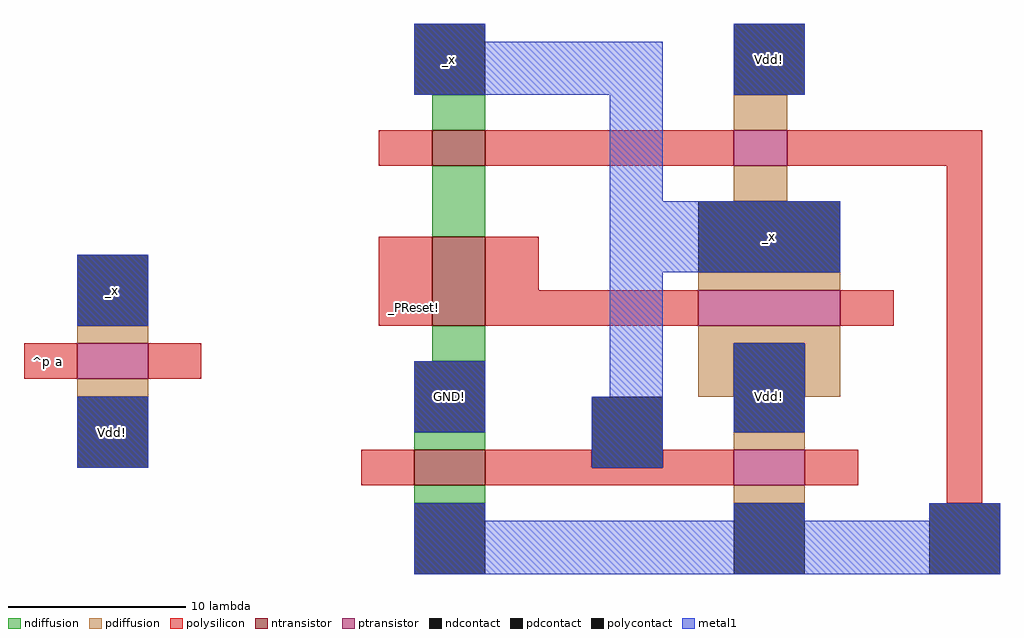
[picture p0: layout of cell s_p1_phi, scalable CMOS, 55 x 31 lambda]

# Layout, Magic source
magic
tech scmos
<< ndiffusion >>
rect -89 4 -86 6
rect -89 -2 -86 2
rect -89 -9 -86 -7
rect -90 -14 -86 -13
rect -90 -17 -86 -16
<< pdiffusion >>
rect -72 4 -69 6
rect -72 0 -69 2
rect -74 -5 -66 -4
rect -109 -8 -105 -7
rect -109 -11 -105 -10
rect -74 -8 -66 -7
rect -74 -11 -72 -8
rect -68 -11 -66 -8
rect -72 -14 -68 -13
rect -72 -17 -68 -16
<< ntransistor >>
rect -89 2 -86 4
rect -89 -7 -86 -2
rect -90 -16 -86 -14
<< ptransistor >>
rect -72 2 -69 4
rect -74 -7 -66 -5
rect -109 -10 -105 -8
rect -72 -16 -68 -14
<< polysilicon >>
rect -92 2 -89 4
rect -86 2 -72 4
rect -69 2 -58 4
rect -92 -7 -89 -2
rect -86 -5 -83 -2
rect -86 -7 -74 -5
rect -66 -7 -63 -5
rect -112 -10 -109 -8
rect -105 -10 -102 -8
rect -93 -16 -90 -14
rect -86 -15 -80 -14
rect -76 -15 -72 -14
rect -86 -16 -72 -15
rect -68 -16 -65 -14
rect -60 -17 -58 2
<< ndcontact >>
rect -90 6 -86 10
rect -90 -13 -86 -9
rect -90 -21 -86 -17
<< pdcontact >>
rect -72 6 -68 10
rect -109 -7 -105 -3
rect -74 -4 -66 0
rect -109 -15 -105 -11
rect -72 -13 -68 -8
rect -72 -21 -68 -17
<< polycontact >>
rect -80 -15 -76 -11
rect -61 -21 -57 -17
<< metal1 >>
rect -90 9 -86 10
rect -90 6 -76 9
rect -72 6 -68 10
rect -79 0 -76 6
rect -109 -7 -105 -3
rect -79 -4 -66 0
rect -109 -15 -105 -11
rect -90 -13 -86 -9
rect -79 -11 -76 -4
rect -80 -15 -76 -11
rect -72 -13 -68 -8
rect -90 -18 -86 -17
rect -72 -18 -68 -17
rect -61 -18 -57 -17
rect -90 -21 -57 -18
<< labels >>
rlabel polysilicon -110 -9 -110 -9 3 a
rlabel space -113 -15 -109 -3 7 ^p
rlabel polysilicon -90 -6 -90 -6 1 _PReset!
rlabel pdcontact -107 -13 -107 -13 1 Vdd!
rlabel pdcontact -107 -5 -107 -5 3 _x
rlabel pdcontact -70 -11 -70 -11 1 Vdd!
rlabel ndcontact -88 -11 -88 -11 1 GND!
rlabel pdcontact -70 8 -70 8 1 Vdd!
rlabel pdcontact -70 -2 -70 -2 1 _x
rlabel ndcontact -88 8 -88 8 5 _x
<< end >>
